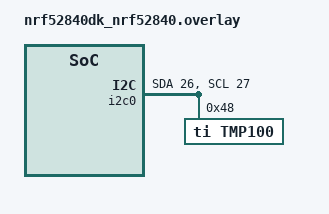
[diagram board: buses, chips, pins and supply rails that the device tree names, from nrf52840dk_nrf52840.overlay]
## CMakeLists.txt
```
cmake_minimum_required(VERSION 3.13.1)
find_package(Zephyr REQUIRED HINTS $ENV{ZEPHYR_BASE})
project(tmp100)

FILE(GLOB app_sources src/*.c)
target_sources(app PRIVATE ${app_sources})
##############################
# Below line is new addition #
##############################
add_subdirectory(../../../drivers/sensor/tmp100 tmp100)
```

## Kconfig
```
menu "Zephyr"
source "Kconfig.zephyr"
endmenu

module = TMP100
module-str = TMP100
source "subsys/logging/Kconfig.template.log_config"
############################################
# The below line is the important addition #
############################################
rsource "../../../drivers/sensor/tmp100/Kconfig"
```

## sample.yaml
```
sample:
  name: TMP100 Sensor Sample
tests:
  sample.sensor.tmp100:
    harness: console
    tags: sensors
    depends_on: i2c
    filter: dt_compat_enabled("ti,tmp100")
    harness_config:
        type: one_line
        regex:
            - "temp is (.*)"
        fixture: fixture_i2c_tmp100
```

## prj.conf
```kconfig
CONFIG_STDOUT_CONSOLE=y
CONFIG_I2C=y
CONFIG_SENSOR=y
####################
CONFIG_TMP100=y
####################
CONFIG_ASSERT=y
```

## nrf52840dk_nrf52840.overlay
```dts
&i2c0 {
    compatible = "nordic,nrf-twi";
    status = "okay";
    sda-pin = <26>;
    scl-pin = <27>;
	tmp100@48 {
		compatible = "ti,tmp100";
		reg = <0x48>;
        status = "okay";
		label = "TMP100";
	};
};
```

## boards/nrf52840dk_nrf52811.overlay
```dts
&i2c0 {
    compatible = "nordic,nrf-twi";
    status = "okay";
    sda-pin = <26>;
    scl-pin = <27>;
	tmp100@48 {
		compatible = "ti,tmp100";
		reg = <0x48>;
        status = "okay";
		label = "TMP100";
	};
};
```

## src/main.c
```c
#include <zephyr.h>
#include <device.h>
#include <drivers/sensor.h>
#include <sys/printk.h>
#include <sys/__assert.h>

static void do_main(const struct device *dev)
{
    int ret;
    struct sensor_value temp_value;
    struct sensor_value attr;

    attr.val1 = 128;
	attr.val2 = 0;
    
    ret = sensor_attr_set(dev, SENSOR_CHAN_AMBIENT_TEMP, SENSOR_ATTR_FULL_SCALE, &attr);

    if(ret)
    {
        printk("sensor_attr_set failed ret %d\n", ret);
        return;
    }

    while(1) {
        ret = sensor_sample_fetch(dev);
        if (ret) {
            printk("sensor_sample_fetch failed ret %d\n", ret);
            return;
        }

        ret = sensor_channel_get(dev, SENSOR_CHAN_AMBIENT_TEMP, &temp_value);
        if (ret) {
            printk("sensor_channel_get failed ret %d\n", ret);
            return;
        }

        printk("temp is %d\n", temp_value.val1);

        k_sleep(K_MSEC(1000));
    }
}

void main(void)
{
	const struct device *dev = DEVICE_DT_GET_ANY(ti_tmp100);

    __ASSERT(dev != NULL, "Failed to get device binding");
    __ASSERT(device_is_ready(dev), "Device %s is not ready", dev->name);
	printk("device is %p, name is %s\n", dev, dev->name);
	
	do_main(dev);
}
```
